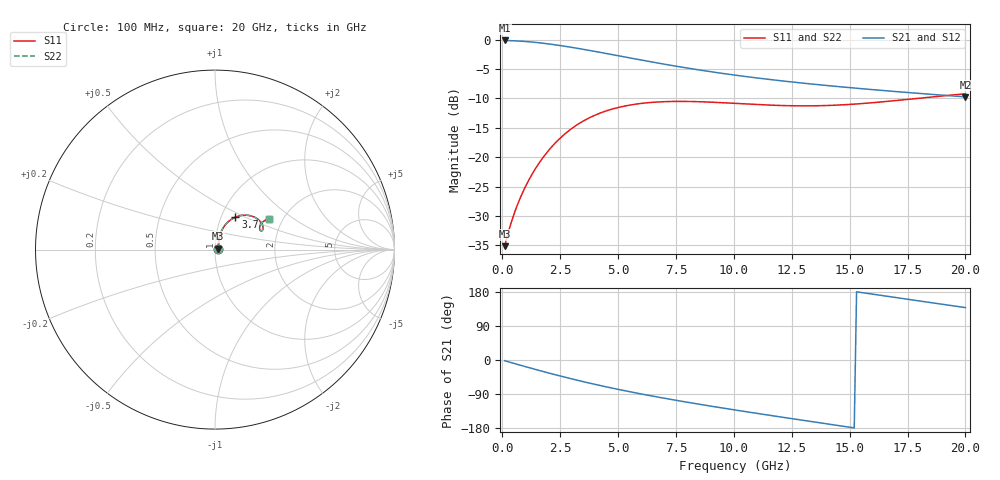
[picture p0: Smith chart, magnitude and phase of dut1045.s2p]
! Touchstone file exported from HFSS 2024.1.0
!  File:  C:/UserFiles/LocalFiles/RDL_TSV_Batchsim/temp_RDL_TSV_1045_1780086646.aedt
!  Generated:  05:16:29 AM May 30, 2026
!  Design:  RDL_TSV
!  Project:  temp_RDL_TSV_1045_1780086646
!  Setup:  Setup1
!  Solution:  Sweep
! Variables:
!  dtsv = 5.03um
!  hbump = 3um
!  htsv = 84.62um
!  ldown = 199.74um
!  lrdl = 641.76um
!  p = 40
!  p1 = 54.07um
!  rhole = 10um
!  subl = 3166.26um
!  t = 450um
!  tdown = 4.56um
!  trdl = 3.13um
!  viad = 10um
!  wdown = 26.87um
!  wrdl = 24.19um
!  xbump = 18um
# GHz S MA R 50.000000
! Terminal data exported
! Port[1] = TM1_1_T1
! Port[2] = TM1_4_T1
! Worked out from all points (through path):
!   200 points, 100 MHz to 20 GHz, reference 50 ohm
!   highest |S21| = -0.15 dB at 100 MHz (marker M1); lowest = -9.7 dB at 20 GHz (marker M2)
!   group delay of S21, straight-line fit = 29.2 ps
!   lowest |S11| = -35.1 dB at 100 MHz (marker M3), VSWR 1.04, Z = 51.7 + j0.614 ohm
!   |S11| at or under -10 dB: start of sweep to 17.92 GHz
!   |S22| runs from -35.1 to -9.2 dB; largest |S21 - S12| = 2.7e-14
!   S11 on the Smith chart (normalised r, x): 100 MHz: 1.03, +0.01; 3.7 GHz: 1.17, +0.44; 20 GHz: 1.71, +0.66
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0.1  0.01753 19.8  0.9834 -1.8  0.9834 -1.8  0.01753 19.8
! Gamma 0 0 0 0
! Port Impedance 50 0 50 0
0.4  0.02843 48.9  0.9788 -7.2  0.9788 -7.2  0.02844 48.9
0.7  0.04146 60.9  0.9723 -12.4  0.9723 -12.4  0.04146 60.9
1  0.05622 67.0  0.9635 -17.6  0.9635 -17.6  0.05622 67.0
1.4  0.07816 70.6  0.9482 -24.4  0.9482 -24.4  0.07814 70.5
1.9  0.1081 70.8  0.9243 -32.7  0.9243 -32.7  0.108 70.8
2.4  0.1392 68.5  0.8962 -40.7  0.8962 -40.7  0.1391 68.5
2.9  0.1696 64.9  0.8655 -48.4  0.8655 -48.4  0.1695 64.9
3.5  0.2032 59.7  0.8267 -57.2  0.8267 -57.2  0.203 59.7
3.7  0.2134 57.9  0.8136 -60.1  0.8136 -60.1  0.2132 57.8
4.3  0.2403 52.4  0.7743 -68.3  0.7743 -68.3  0.2401 52.4
5  0.2646 46.3  0.7297 -77.5  0.7297 -77.5  0.2644 46.3
5.9  0.2851 39.3  0.676 -88.5  0.676 -88.5  0.2848 39.3
6.8  0.2955 33.4  0.6278 -98.8  0.6278 -98.8  0.2952 33.4
8.4  0.2969 26.1  0.556 -115.7  0.556 -115.7  0.2966 26.1
10.1  0.2866 22.3  0.4971 -132.4  0.4971 -132.4  0.2864 22.4
11.7  0.2766 22.2  0.4543 -147.4  0.4543 -147.4  0.2764 22.2
13.4  0.2735 24.5  0.4183 -162.9  0.4183 -162.9  0.2733 24.5
15  0.2811 27.4  0.3905 -177.4  0.3905 -177.4  0.2809 27.4
16.7  0.2993 29.6  0.3655 167.4  0.3655 167.4  0.2992 29.7
18.4  0.3233 30.2  0.3439 152.3  0.3439 152.3  0.3233 30.2
20  0.3466 29.3  0.3259 138.3  0.3259 138.3  0.3465 29.4
